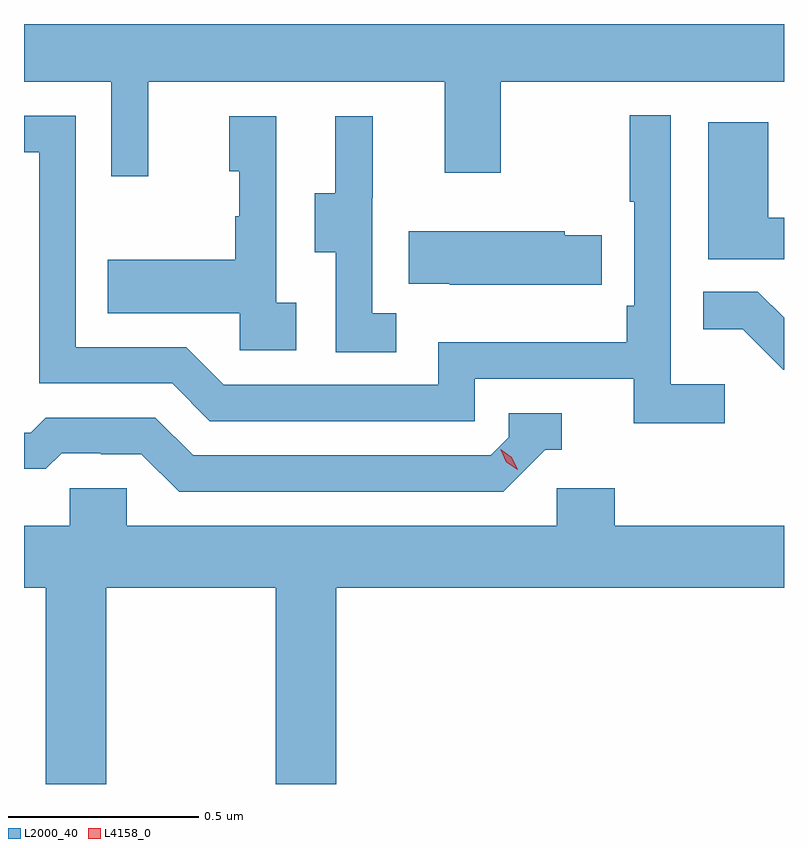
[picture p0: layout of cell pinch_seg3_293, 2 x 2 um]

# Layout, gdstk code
import gdstk
lib = gdstk.Library(unit=1e-6, precision=1e-09)
def P(c, l, *ps):  # polygons
    for p in ps: c.add(gdstk.Polygon(p, *l))
L2000_40 = (2000, 40)
L4158_0 = (4158, 0)

pinch_seg3_293 = lib.new_cell('pinch_seg3_293')
P(pinch_seg3_293, L2000_40, [(945.311,728.888),(946.091,728.888),(946.091,728.649),(946.239,728.649),(946.239,728.888),(946.984,728.888),(946.984,729.04),(944.984,729.04),(944.984,728.888),(945.213,728.888),(945.213,728.64),(945.311,728.64)],
  [(946.828,728.092),(946.686,728.092),(946.686,728.8),(946.578,728.8),(946.578,728.572),(946.59,728.572),(946.59,728.299),(946.57,728.299),(946.57,728.203),(946.074,728.203),(946.074,728.091),(945.51,728.091),(945.411,728.19),(945.12,728.19),(945.12,728.799),(944.984,728.799),(944.984,728.703),(945.024,728.703),(945.024,728.094),(945.374,728.094),(945.473,727.995),(946.17,727.995),(946.17,728.106),(946.589,728.106),(946.589,727.99),(946.828,727.99)],
  [(945.7,728.306),(945.648,728.306),(945.648,728.797),(945.524,728.797),(945.524,728.652),(945.55,728.652),(945.55,728.534),(945.54,728.534),(945.54,728.419),(945.205,728.419),(945.205,728.279),(945.552,728.279),(945.552,728.181),(945.7,728.181)],
  [(945.964,728.279),(945.9,728.279),(945.9,728.583),(945.902,728.583),(945.902,728.797),(945.803,728.797),(945.803,728.595),(945.749,728.595),(945.749,728.44),(945.804,728.44),(945.804,728.176),(945.964,728.176)],
  [(946.984,728.53),(946.942,728.53),(946.942,728.782),(946.784,728.782),(946.784,728.421),(946.984,728.421)],
  [(946.505,728.484),(946.407,728.484),(946.407,728.494),(945.997,728.494),(945.997,728.357),(946.105,728.357),(946.105,728.354),(946.505,728.354)],
  [(946.984,728.267),(946.915,728.336),(946.771,728.336),(946.771,728.237),(946.875,728.237),(946.982,728.13),(946.984,728.13)],
  [(946.356,727.92),(946.399,727.92),(946.399,728.016),(946.26,728.016),(946.26,727.953),(946.212,727.905),(945.429,727.905),(945.33,728.004),(945.041,728.004),(945.002,727.965),(944.984,727.965),(944.984,727.869),(945.041,727.869),(945.083,727.911),(945.186,727.911),(945.186,727.908),(945.293,727.908),(945.392,727.809),(946.245,727.809)],
  [(945.201,727.556),(945.646,727.556),(945.646,727.04),(945.806,727.04),(945.806,727.556),(946.984,727.556),(946.984,727.72),(946.538,727.72),(946.538,727.818),(946.386,727.818),(946.386,727.72),(945.255,727.72),(945.255,727.818),(945.105,727.818),(945.105,727.72),(944.984,727.72),(944.984,727.556),(945.041,727.556),(945.041,727.04),(945.201,727.04)])
P(pinch_seg3_293, L4158_0, [(946.283,727.867),(946.253,727.887),(946.238,727.92),(946.238,727.921),(946.238,727.921),(946.268,727.9),(946.283,727.867),(946.283,727.867)])

lib.write_gds('pinch_seg3_293.gds')
